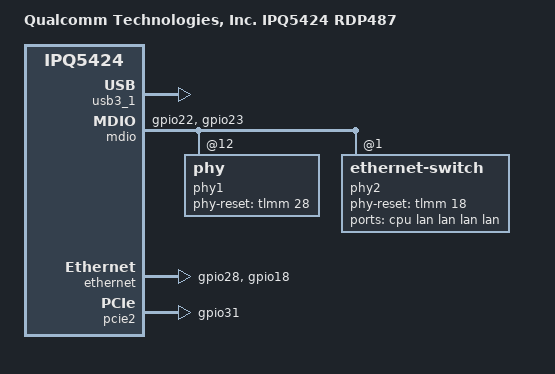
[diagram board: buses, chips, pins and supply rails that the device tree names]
// SPDX-License-Identifier: GPL-2.0-only
/*
 * Copyright (c) Qualcomm Technologies, Inc. and/or its subsidiaries.
 */

/dts-v1/;

#include "ipq5424.dtsi"

/ {
	model = "Qualcomm Technologies, Inc. IPQ5424 RDP487";
	compatible = "qcom,ipq5424-rdp487", "qcom,ipq5424";

	aliases {
		serial0 = &uart1;
	};

	soc@0 {
		qusb2_phy_0: qusb2_0@7B000 {
			status = "okay";
		};

		usb3_1: usb3_1@8af8800 {
			status = "okay";
		};

		mdio: mdio@90000 {
			pinctrl-names = "default";
			pinctrl-0 = <&mdio_pinmux>;
			status = "okay";

			phy1: phy@12 {
				phy-reset-gpio = <&tlmm 28 0>;
				phy_addr = <12>;
				phy_type = <QCA81xx_PHY_TYPE>;
				id = <2>;
				uniphy_id = <1>;
				uniphy_type = <0>;
				xgmac;
			};

			phy2: ethernet-switch@1 {
				phy-reset-gpio = <&tlmm 18 0>;
				dev-mode = <0x1>;
				phy_addr = <1>;
				phy_type = <QCA8x8x_SWITCH_TYPE>;
				id = <3>;
				uniphy_id = <2>;
				uniphy_type = <0>;
				max_speed = <2500>;
				force-speed;
				xgmac;
				ports {
					#address-cells = <1>;
					#size-cells = <0>;

					port0: port@0 {
						phy_addr = <0>;
						label = "cpu";
						phy-mode = "2500base-x";
						fixed-link {
							speed = <2500>;
							full-duplex;
						};
					};

					port1: port@1 {
						phy_addr = <1>;
						label = "lan";
					};

					port2: port@2 {
						phy_addr = <2>;
						label = "lan";
					};

					port3: port@3 {
						phy_addr = <3>;
						label = "lan";
					};

					port4: port@4 {
						phy_addr = <4>;
						label = "lan";
					};
				};
			};
		};

		ethernet: nss-switch {
			pinctrl-names = "default";
			pinctrl-0 = <&phy_rst_pinmux>;
			phy-handle1 = <&phy1>;
			phy-handle2 = <&phy2>;
			status = "okay";
		};

		pcie2: pcie@50000000 {
			pinctrl-0 = <&pcie2_default_state>;
			pinctrl-names = "default";
			status = "okay";
			perst-gpios = <&tlmm 31 GPIO_ACTIVE_LOW>;
		};
	};
};

&tlmm {
	mdio_pinmux: mdio {
		mdc {
			pins = "gpio22";
			function = "mdc_mst";
			drive-strength = <8>;
			bias-disable;
		};

		mdio {
			pins = "gpio23";
			function = "mdio_mst";
			drive-strength = <8>;
			bias-pull-up;
		};
	};

	phy_rst_pinmux: phy_rst {
		qti_laguna1_rst {
			pins = "gpio28";
			drive-strength = <8>;
			bias-pull-up;
		};

		qti_8x8x_rst {
			pins = "gpio18";
			drive-strength = <8>;
			bias-pull-up;
		};
	};

	pcie2_default_state: pcie2-default-state {
		perst-n-pins {
			pins = "gpio31";
			function = "gpio";
			drive-strength = <8>;
			bias-pull-up;
			output-low;
		};
	};
};
